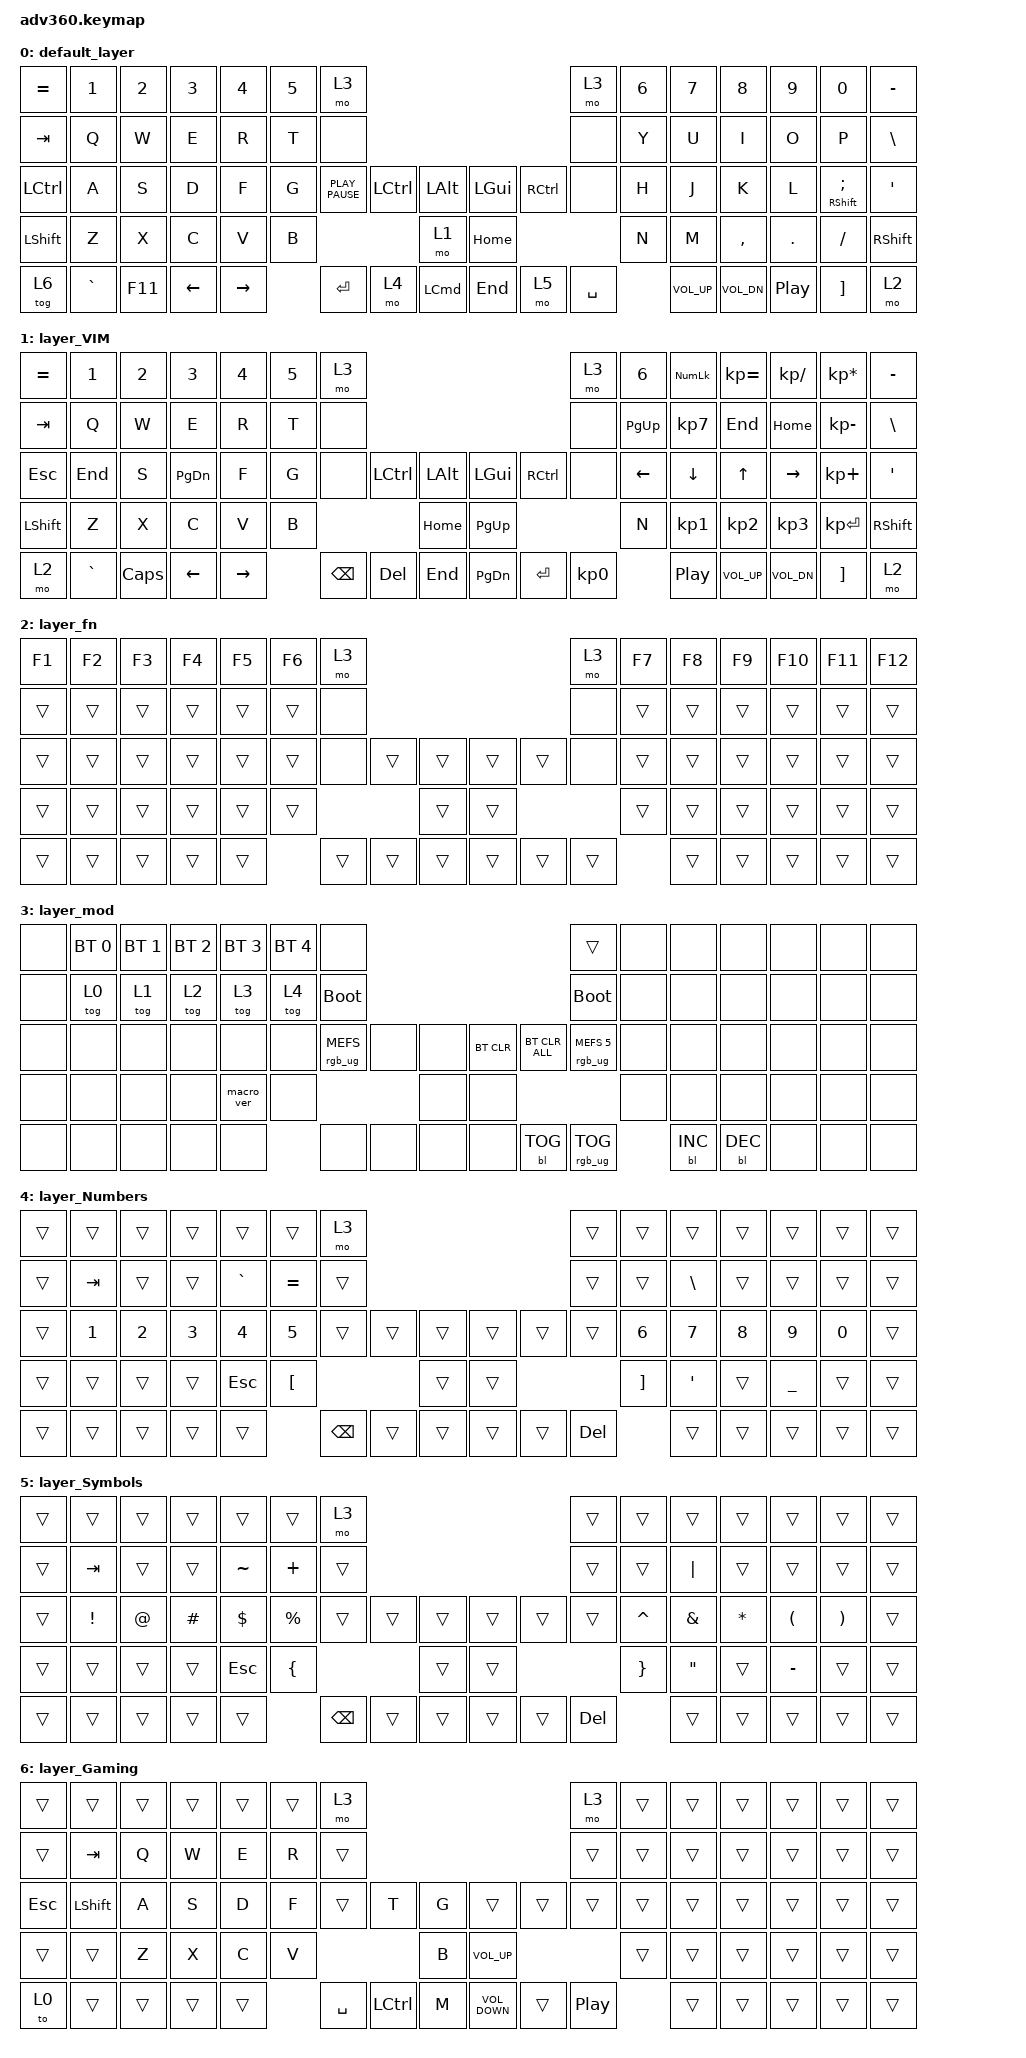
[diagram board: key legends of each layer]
/*
 * Copyright (c) 2020 The ZMK Contributors
 *
 * SPDX-License-Identifier: MIT
 */
/* THIS FILE WAS GENERATED!
 *
 * This file was generated automatically. You may or may not want to
 * edit it directly.
 */

#include <dt-bindings/zmk/stp.h>
#include <behaviors.dtsi>
#include <dt-bindings/zmk/backlight.h>
#include <dt-bindings/zmk/bt.h>
#include <dt-bindings/zmk/keys.h>
#include <dt-bindings/zmk/rgb.h>

/ {
    behaviors {
        #include "macros.dtsi"
      #include "version.dtsi"

        hm: homerow_mods {
            compatible = "zmk,behavior-hold-tap";
            label = "HOMEROW_MODS";
            #binding-cells = <2>;
            tapping-term-ms = <200>;
            quick_tap_ms = <175>;
            flavor = "tap-preferred";
            bindings = <&kp>, <&kp>;
        };
    };

    keymap {
        compatible = "zmk,keymap";

        default_layer {
            bindings = <
&kp EQUAL  &kp N1     &kp N2   &kp N3    &kp N4     &kp N5  &mo 3                                                           &mo 3      &kp N6  &kp N7        &kp N8        &kp N9            &kp N0          &kp MINUS
&kp TAB    &kp Q      &kp W    &kp E     &kp R      &kp T   &none                                                           &none      &kp Y   &kp U         &kp I         &kp O             &kp P           &kp BSLH
&kp LCTRL  &kp A      &kp S    &kp D     &kp F      &kp G   &kp K_PLAY_PAUSE  &kp LCTRL  &kp LALT      &kp LGUI  &kp RCTRL  &none      &kp H   &kp J         &kp K         &kp L             &mt RSHFT SEMI  &kp SQT
&kp LSHFT  &kp Z      &kp X    &kp C     &kp V      &kp B                                &mo 1         &kp HOME                        &kp N   &kp M         &kp COMMA     &kp DOT           &kp FSLH        &kp RSHFT
&tog 6     &kp GRAVE  &kp F11  &kp LEFT  &kp RIGHT          &kp ENTER         &mo 4      &kp LCMD      &kp END   &mo 5      &kp SPACE          &kp C_VOL_UP  &kp C_VOL_DN  &kp C_PLAY_PAUSE  &kp RBKT        &mo 2
            >;
        };

        layer_VIM {
            bindings = <
&kp EQUAL  &kp N1     &kp N2    &kp N3     &kp N4     &kp N5  &mo 3                                                    &mo 3      &kp N6          &kp KP_NUM        &kp KP_EQUAL  &kp KP_DIVIDE    &kp KP_MULTIPLY  &kp MINUS
&kp TAB    &kp Q      &kp W     &kp E      &kp R      &kp T   &none                                                    &none      &kp PG_UP       &kp KP_N7         &kp END       &kp HOME         &kp KP_MINUS     &kp BSLH
&kp ESC    &kp END    &kp S     &kp PG_DN  &kp F      &kp G   &none     &kp LCTRL  &kp LALT      &kp LGUI   &kp RCTRL  &none      &kp LEFT_ARROW  &kp DOWN_ARROW    &kp UP_ARROW  &kp RIGHT_ARROW  &kp KP_PLUS      &kp SQT
&kp LSHFT  &kp Z      &kp X     &kp C      &kp V      &kp B                        &kp HOME      &kp PG_UP                        &kp N           &kp KP_N1         &kp KP_N2     &kp KP_N3        &kp KP_ENTER     &kp RSHFT
&mo 2      &kp GRAVE  &kp CAPS  &kp LEFT   &kp RIGHT          &kp BSPC  &kp DEL    &kp END       &kp PG_DN  &kp ENTER  &kp KP_N0                  &kp C_PLAY_PAUSE  &kp C_VOL_UP  &kp C_VOL_DN     &kp RBKT         &mo 2
            >;
        };

        layer_fn {
            bindings = <
&kp F1  &kp F2  &kp F3  &kp F4  &kp F5  &kp F6  &mo 3                                       &mo 3   &kp F7  &kp F8  &kp F9  &kp F10  &kp F11  &kp F12
&trans  &trans  &trans  &trans  &trans  &trans  &none                                       &none   &trans  &trans  &trans  &trans   &trans   &trans
&trans  &trans  &trans  &trans  &trans  &trans  &none   &trans  &trans      &trans  &trans  &none   &trans  &trans  &trans  &trans   &trans   &trans
&trans  &trans  &trans  &trans  &trans  &trans                  &trans      &trans                  &trans  &trans  &trans  &trans   &trans   &trans
&trans  &trans  &trans  &trans  &trans          &trans  &trans  &trans      &trans  &trans  &trans          &trans  &trans  &trans   &trans   &trans
            >;
        };

        layer_mod {
            bindings = <
&none  &bt BT_SEL 0  &bt BT_SEL 1  &bt BT_SEL 2  &bt BT_SEL 3  &bt BT_SEL 4  &none                                                               &trans                  &none  &none       &none       &none  &none  &none
&none  &tog 0        &tog 1        &tog 2        &tog 3        &tog 4        &bootloader                                                         &bootloader             &none  &none       &none       &none  &none  &none
&none  &none         &none         &none         &none         &none         &rgb_ug RGB_MEFS_CMD  &none  &none      &bt BT_CLR  &bt BT_CLR_ALL  &rgb_ug RGB_MEFS_CMD 5  &none  &none       &none       &none  &none  &none
&none  &none         &none         &none         &macro_ver    &none                                      &none      &none                                               &none  &none       &none       &none  &none  &none
&none  &none         &none         &none         &none                       &none                 &none  &none      &none       &bl BL_TOG      &rgb_ug RGB_TOG                &bl BL_INC  &bl BL_DEC  &none  &none  &none
            >;
        };

        layer_Numbers {
            bindings = <
&trans  &trans        &trans        &trans        &trans        &trans            &mo 3                                              &trans      &trans             &trans            &trans        &trans        &trans        &trans
&trans  &kp TAB       &trans        &trans        &kp GRAVE     &kp EQUAL         &trans                                             &trans      &trans             &kp BACKSLASH     &trans        &trans        &trans        &trans
&trans  &kp NUMBER_1  &kp NUMBER_2  &kp NUMBER_3  &kp NUMBER_4  &kp NUMBER_5      &trans         &trans  &trans      &trans  &trans  &trans      &kp NUMBER_6       &kp NUMBER_7      &kp NUMBER_8  &kp NUMBER_9  &kp NUMBER_0  &trans
&trans  &trans        &trans        &trans        &kp ESCAPE    &kp LEFT_BRACKET                         &trans      &trans                      &kp RIGHT_BRACKET  &kp SINGLE_QUOTE  &trans        &kp UNDER     &trans        &trans
&trans  &trans        &trans        &trans        &trans                          &kp BACKSPACE  &trans  &trans      &trans  &trans  &kp DELETE                     &trans            &trans        &trans        &trans        &trans
            >;
        };

        layer_Symbols {
            bindings = <
&trans  &trans           &trans       &trans     &trans      &trans          &mo 3                                              &trans      &trans           &trans             &trans        &trans                &trans                 &trans
&trans  &kp TAB          &trans       &trans     &kp TILDE   &kp PLUS        &trans                                             &trans      &trans           &kp PIPE           &trans        &trans                &trans                 &trans
&trans  &kp EXCLAMATION  &kp AT_SIGN  &kp POUND  &kp DOLLAR  &kp PERCENT     &trans         &trans  &trans      &trans  &trans  &trans      &kp CARET        &kp AMPERSAND      &kp ASTERISK  &kp LEFT_PARENTHESIS  &kp RIGHT_PARENTHESIS  &trans
&trans  &trans           &trans       &trans     &kp ESC     &kp LEFT_BRACE                         &trans      &trans                      &kp RIGHT_BRACE  &kp DOUBLE_QUOTES  &trans        &kp MINUS             &trans                 &trans
&trans  &trans           &trans       &trans     &trans                      &kp BACKSPACE  &trans  &trans      &trans  &trans  &kp DELETE                   &trans             &trans        &trans                &trans                 &trans
            >;
        };

        layer_Gaming {
            bindings = <
&trans   &trans          &trans  &trans  &trans  &trans  &mo 3                                                              &mo 3             &trans  &trans  &trans  &trans  &trans  &trans
&trans   &kp TAB         &kp Q   &kp W   &kp E   &kp R   &trans                                                             &trans            &trans  &trans  &trans  &trans  &trans  &trans
&kp ESC  &kp LEFT_SHIFT  &kp A   &kp S   &kp D   &kp F   &trans     &kp T             &kp G      &trans             &trans  &trans            &trans  &trans  &trans  &trans  &trans  &trans
&trans   &trans          &kp Z   &kp X   &kp C   &kp V                                &kp B      &kp C_VOL_UP                                 &trans  &trans  &trans  &trans  &trans  &trans
&to 0    &trans          &trans  &trans  &trans          &kp SPACE  &kp LEFT_CONTROL  &kp M      &kp C_VOLUME_DOWN  &trans  &kp C_PLAY_PAUSE          &trans  &trans  &trans  &trans  &trans
            >;
        };
    };
};
